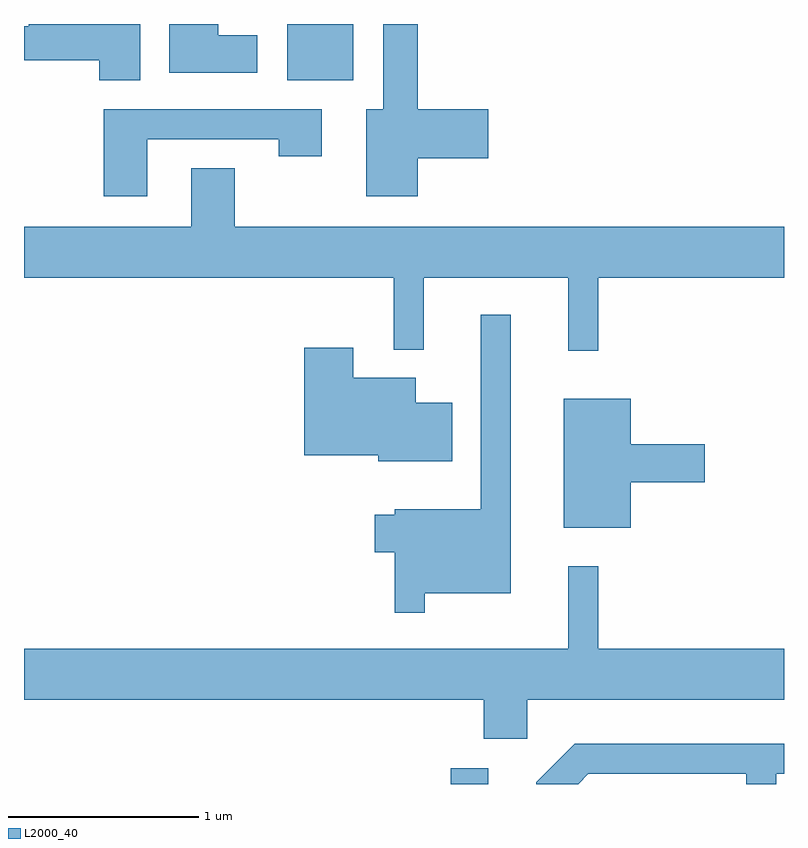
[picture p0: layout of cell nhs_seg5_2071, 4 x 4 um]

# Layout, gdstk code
import gdstk
lib = gdstk.Library(unit=1e-6, precision=1e-09)
def R(c, l, rs):  # rectangles x0, y0, x1, y1
    for r in rs: c.add(gdstk.rectangle(r[:2], r[2:], *l))
def P(c, l, *ps):  # polygons
    for p in ps: c.add(gdstk.Polygon(p, *l))
L2000_40 = (2000, 40)

nhs_seg5_2071 = lib.new_cell('nhs_seg5_2071')
R(nhs_seg5_2071, L2000_40, [(247.856,1514.072,248.054,1514.154), (246.996,1517.776,247.344,1518.072)])
P(nhs_seg5_2071, L2000_40, [(246.839,1518.014),(246.634,1518.014),(246.634,1518.072),(246.376,1518.072),(246.376,1517.816),(246.839,1517.816)],
  [(246.224,1518.072),(245.636,1518.072),(245.636,1518.059),(245.611,1518.059),(245.611,1517.881),(246.006,1517.881),(246.006,1517.776),(246.224,1517.776)],
  [(247.684,1517.366),(248.054,1517.366),(248.054,1517.624),(247.684,1517.624),(247.684,1518.072),(247.501,1518.072),(247.501,1517.624),(247.411,1517.624),(247.411,1517.166),(247.684,1517.166)],
  [(246.259,1517.466),(246.951,1517.466),(246.951,1517.376),(247.179,1517.376),(247.179,1517.624),(246.031,1517.624),(246.031,1517.166),(246.259,1517.166)],
  [(248.634,1516.736),(249.611,1516.736),(249.611,1517.004),(246.719,1517.004),(246.719,1517.314),(246.491,1517.314),(246.491,1517.004),(245.611,1517.004),(245.611,1516.736),(247.556,1516.736),(247.556,1516.358),(247.714,1516.358),(247.714,1516.736),(248.476,1516.736),(248.476,1516.353),(248.634,1516.353)],
  [(247.719,1515.076),(248.174,1515.076),(248.174,1516.543),(248.016,1516.543),(248.016,1515.519),(247.561,1515.519),(247.561,1515.489),(247.456,1515.489),(247.456,1515.291),(247.561,1515.291),(247.561,1514.973),(247.719,1514.973)],
  [(247.864,1516.079),(247.674,1516.079),(247.674,1516.209),(247.344,1516.209),(247.344,1516.369),(247.086,1516.369),(247.086,1515.801),(247.476,1515.801),(247.476,1515.771),(247.864,1515.771)],
  [(248.804,1515.661),(249.194,1515.661),(249.194,1515.859),(248.804,1515.859),(248.804,1516.099),(248.451,1516.099),(248.451,1515.421),(248.804,1515.421)],
  [(248.259,1514.516),(249.611,1514.516),(249.611,1514.784),(248.634,1514.784),(248.634,1515.218),(248.476,1515.218),(248.476,1514.784),(245.611,1514.784),(245.611,1514.516),(248.031,1514.516),(248.031,1514.311),(248.259,1514.311)],
  [(248.582,1514.126),(249.411,1514.126),(249.411,1514.072),(249.569,1514.072),(249.569,1514.126),(249.611,1514.126),(249.611,1514.284),(248.509,1514.284),(248.306,1514.082),(248.306,1514.072),(248.528,1514.072)])

lib.write_gds('nhs_seg5_2071.gds')
